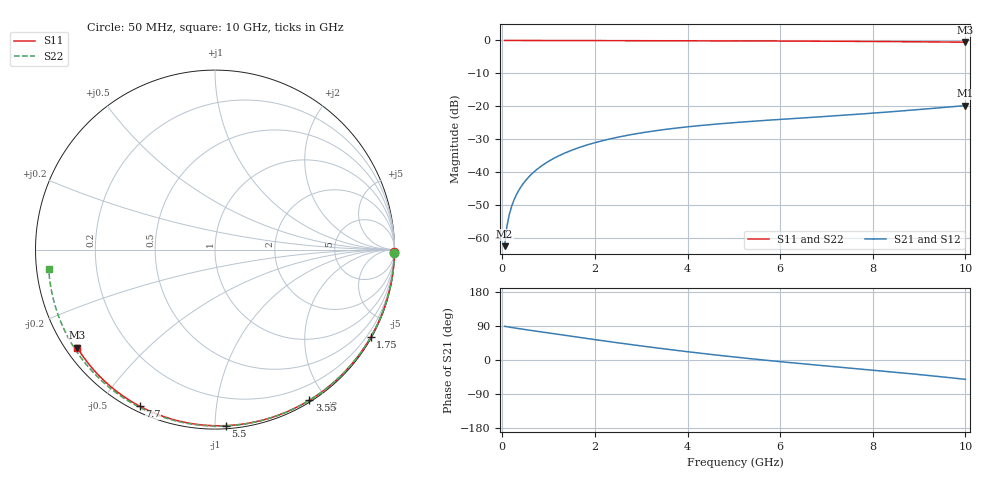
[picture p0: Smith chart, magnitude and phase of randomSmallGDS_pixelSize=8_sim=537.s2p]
! freq	dB(S11)	phase(S11)	dB(S12)	phase(S12)
!  dB(S21)	phase(S21)	dB(S22)	phase(S22)
!S-par simulation data
#  GHz  S  DB  R 50
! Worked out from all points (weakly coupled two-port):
!   200 points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, 50 MHz to 10 GHz, reference 50 ohm
!   highest |S21| = -19.73 dB at 10 GHz (marker M1); lowest = -62.3 dB at 50 MHz (marker M2)
!   lowest |S11| = -0.5 dB at 10 GHz (marker M3), VSWR 33.32, Z = 1.65 - j16 ohm
!   |S11| at or under -10 dB: nowhere
!   |S22| runs from -0.6 to 0.0 dB; largest |S21 - S12| = 0
!   S11 on the Smith chart (normalised r, x): 50 MHz: open; 1.75 GHz: 0.04, -3.81; 3.55 GHz: 0.02, -1.81; 5.5 GHz: 0.02, -1.06; 7.7 GHz: 0.02, -0.63; 10 GHz: 0.03, -0.32
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0.05  -0.00 -0.9  -62.34 88.9  -62.34 88.9  -0.00 -1.0
0.1  -0.00 -1.7  -56.34 87.8  -56.34 87.8  -0.00 -2.0
0.15  -0.00 -2.6  -52.83 86.7  -52.83 86.7  -0.00 -3.0
0.2  -0.00 -3.4  -50.36 85.7  -50.36 85.7  -0.00 -4.0
0.25  -0.00 -4.3  -48.44 84.8  -48.44 84.8  -0.00 -5.0
0.35  -0.00 -6.0  -45.56 82.9  -45.56 82.9  -0.01 -7.0
0.5  -0.01 -8.5  -42.51 80.2  -42.51 80.2  -0.01 -10.0
0.7  -0.01 -11.9  -39.64 76.7  -39.64 76.7  -0.02 -14.0
1  -0.02 -16.9  -36.62 71.3  -36.62 71.3  -0.03 -19.9
1.35  -0.03 -22.8  -34.12 65.1  -34.12 65.1  -0.04 -26.7
1.75  -0.04 -29.4  -32.03 58.1  -32.03 58.1  -0.05 -34.4
2.6  -0.06 -43.1  -29.02 43.6  -29.02 43.6  -0.07 -50.5
3.4  -0.08 -55.7  -27.18 30.8  -27.18 30.8  -0.09 -65.1
3.55  -0.09 -58.0  -26.90 28.5  -26.90 28.5  -0.10 -67.8
4.3  -0.11 -69.2  -25.75 17.6  -25.75 17.6  -0.12 -80.9
5.05  -0.13 -80.1  -24.86 7.4  -24.86 7.4  -0.16 -93.5
5.5  -0.15 -86.4  -24.40 1.7  -24.40 1.7  -0.18 -100.9
6.7  -0.21 -102.7  -23.29 -12.4  -23.29 -12.4  -0.25 -120.1
7.7  -0.28 -115.7  -22.34 -23.5  -22.34 -23.5  -0.33 -135.8
8.35  -0.34 -123.9  -21.66 -30.8  -21.66 -30.8  -0.39 -146.1
9.2  -0.42 -134.6  -20.70 -40.8  -20.70 -40.8  -0.49 -159.8
10  -0.52 -144.5  -19.73 -51.0  -19.73 -51.0  -0.61 -173.3
